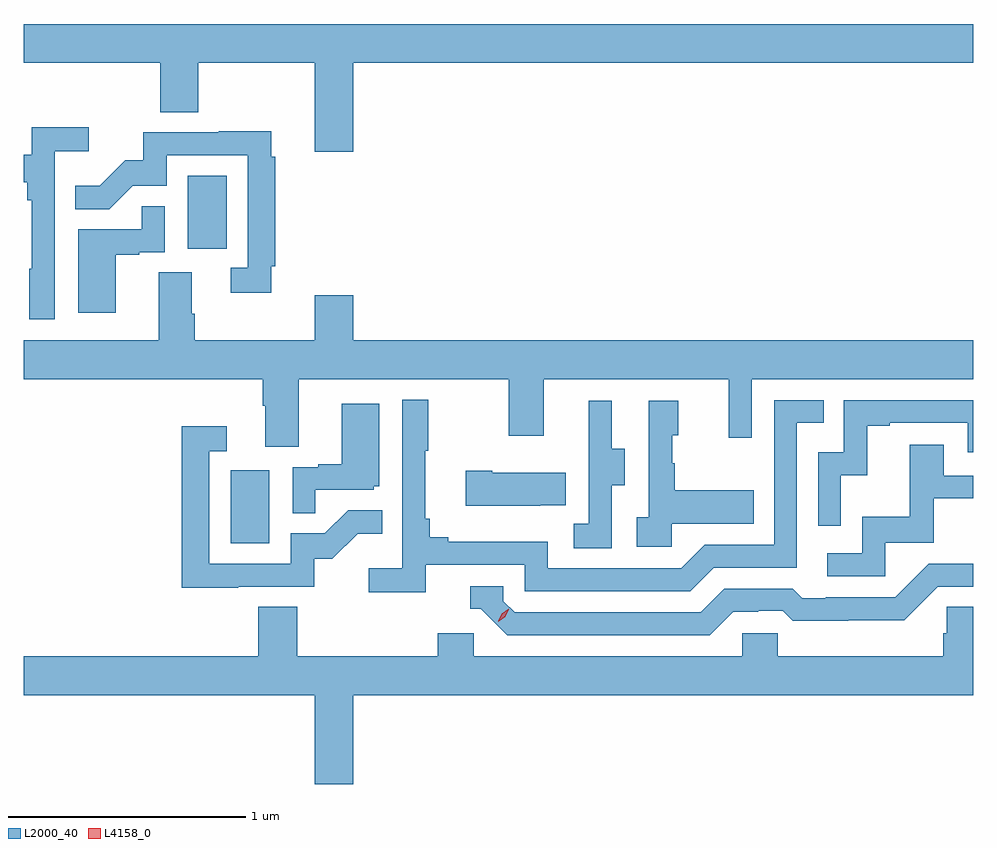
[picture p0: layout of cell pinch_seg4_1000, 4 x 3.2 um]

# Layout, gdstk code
import gdstk
lib = gdstk.Library(unit=1e-6, precision=1e-09)
def R(c, l, rs):  # rectangles x0, y0, x1, y1
    for r in rs: c.add(gdstk.rectangle(r[:2], r[2:], *l))
def P(c, l, *ps):  # polygons
    for p in ps: c.add(gdstk.Polygon(p, *l))
L2000_40 = (2000, 40)
L4158_0 = (4158, 0)

pinch_seg4_1000 = lib.new_cell('pinch_seg4_1000')
R(pinch_seg4_1000, L2000_40, [(823.994,773.484,824.158,773.791), (823.814,774.726,823.978,775.033)])
P(pinch_seg4_1000, L2000_40, [(824.512,775.508),(827.123,775.508),(827.123,775.672),(823.123,775.672),(823.123,775.508),(823.697,775.508),(823.697,775.3),(823.857,775.3),(823.857,775.508),(824.348,775.508),(824.348,775.134),(824.512,775.134)],
  [(823.254,775.136),(823.396,775.136),(823.396,775.238),(823.157,775.238),(823.157,775.122),(823.123,775.122),(823.123,775.006),(823.138,775.006),(823.138,774.929),(823.157,774.929),(823.157,774.641),(823.146,774.641),(823.146,774.429),(823.254,774.429)],
  [(824.165,774.652),(824.183,774.652),(824.183,775.112),(824.165,775.112),(824.165,775.22),(823.945,775.22),(823.945,775.215),(823.627,775.215),(823.627,775.098),(823.55,775.098),(823.443,774.991),(823.339,774.991),(823.339,774.892),(823.483,774.892),(823.581,774.99),(823.725,774.99),(823.725,775.119),(824.067,775.119),(824.067,774.645),(823.995,774.645),(823.995,774.54),(824.165,774.54)],
  [(823.51,774.699),(823.61,774.699),(823.61,774.711),(823.716,774.711),(823.716,774.905),(823.621,774.905),(823.621,774.807),(823.352,774.807),(823.352,774.456),(823.51,774.456)],
  [(824.281,774.176),(825.166,774.176),(825.166,773.937),(825.313,773.937),(825.313,774.176),(826.094,774.176),(826.094,773.928),(826.191,773.928),(826.191,774.176),(827.123,774.176),(827.123,774.34),(824.512,774.34),(824.512,774.529),(824.348,774.529),(824.348,774.34),(823.844,774.34),(823.844,774.452),(823.831,774.452),(823.831,774.626),(823.691,774.626),(823.691,774.34),(823.123,774.34),(823.123,774.176),(824.129,774.176),(824.129,774.064),(824.141,774.064),(824.141,773.89),(824.281,773.89)],
  [(824.816,773.394),(825.234,773.394),(825.234,773.283),(825.931,773.283),(826.03,773.382),(826.38,773.382),(826.38,773.991),(826.493,773.991),(826.493,774.087),(826.284,774.087),(826.284,773.478),(825.993,773.478),(825.894,773.379),(825.33,773.379),(825.33,773.491),(824.911,773.491),(824.911,773.51),(824.834,773.51),(824.834,773.587),(824.815,773.587),(824.815,773.875),(824.827,773.875),(824.827,774.088),(824.718,774.088),(824.718,773.38),(824.577,773.38),(824.577,773.278),(824.816,773.278)],
  [(826.566,773.771),(826.676,773.771),(826.676,773.979),(826.771,773.979),(826.771,773.991),(827.1,773.991),(827.1,773.868),(827.123,773.868),(827.123,774.087),(826.578,774.087),(826.578,773.868),(826.47,773.868),(826.47,773.559),(826.566,773.559)],
  [(825.6,773.728),(825.655,773.728),(825.655,773.883),(825.601,773.883),(825.601,774.085),(825.503,774.085),(825.503,773.871),(825.504,773.871),(825.504,773.567),(825.441,773.567),(825.441,773.464),(825.6,773.464)],
  [(825.852,773.567),(826.199,773.567),(826.199,773.707),(825.865,773.707),(825.865,773.822),(825.855,773.822),(825.855,773.94),(825.88,773.94),(825.88,774.085),(825.756,774.085),(825.756,773.594),(825.705,773.594),(825.705,773.469),(825.852,773.469)],
  [(824.351,773.709),(824.598,773.709),(824.598,773.724),(824.62,773.724),(824.62,774.073),(824.462,774.073),(824.462,773.818),(824.363,773.818),(824.363,773.805),(824.256,773.805),(824.256,773.611),(824.351,773.611)],
  [(824.027,773.301),(824.346,773.301),(824.346,773.418),(824.422,773.418),(824.529,773.525),(824.633,773.525),(824.633,773.624),(824.489,773.624),(824.391,773.526),(824.247,773.526),(824.247,773.397),(823.905,773.397),(823.905,773.871),(823.978,773.871),(823.978,773.977),(823.789,773.977),(823.789,773.296),(824.027,773.296)],
  [(826.752,773.487),(826.957,773.487),(826.957,773.673),(827.123,773.673),(827.123,773.769),(826.999,773.769),(826.999,773.899),(826.855,773.899),(826.855,773.596),(826.656,773.596),(826.656,773.442),(826.509,773.442),(826.509,773.346),(826.752,773.346)],
  [(825.299,773.645),(825.407,773.645),(825.407,773.782),(825.097,773.782),(825.097,773.79),(824.985,773.79),(824.985,773.642),(825.299,773.642)],
  [(826.111,773.196),(826.218,773.196),(826.218,773.199),(826.321,773.199),(826.363,773.157),(826.596,773.157),(826.596,773.159),(826.832,773.159),(826.974,773.301),(827.123,773.301),(827.123,773.397),(826.935,773.397),(826.794,773.256),(826.501,773.256),(826.501,773.253),(826.402,773.253),(826.363,773.292),(826.074,773.292),(825.975,773.193),(825.192,773.193),(825.144,773.241),(825.144,773.304),(825.005,773.304),(825.005,773.208),(825.048,773.208),(825.159,773.097),(826.012,773.097)],
  [(824.512,772.844),(827.123,772.844),(827.123,773.216),(827.011,773.216),(827.011,773.106),(826.997,773.106),(826.997,773.008),(826.299,773.008),(826.299,773.106),(826.149,773.106),(826.149,773.008),(825.018,773.008),(825.018,773.106),(824.867,773.106),(824.867,773.008),(824.276,773.008),(824.276,773.216),(824.111,773.216),(824.111,773.008),(823.123,773.008),(823.123,772.844),(824.348,772.844),(824.348,772.47),(824.512,772.47)])
P(pinch_seg4_1000, L4158_0, [(825.121,773.154),(825.121,773.155),(825.137,773.187),(825.167,773.208),(825.167,773.208),(825.167,773.207),(825.152,773.174),(825.122,773.154)])

lib.write_gds('pinch_seg4_1000.gds')
